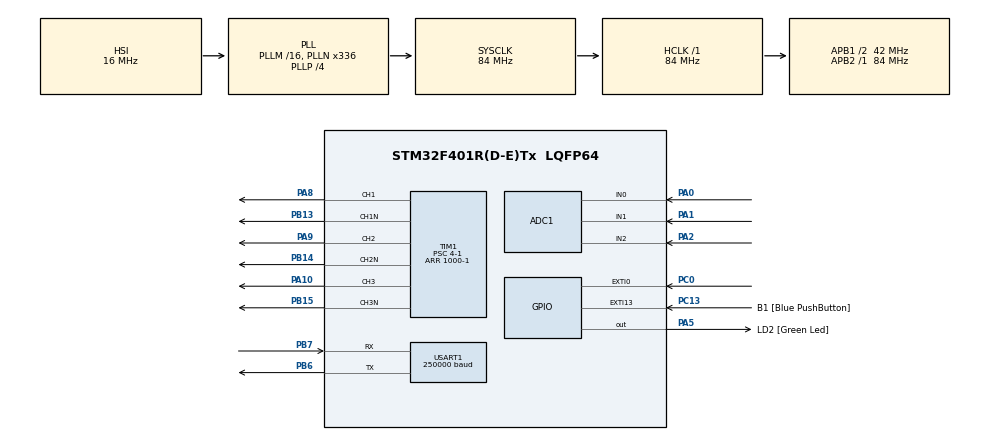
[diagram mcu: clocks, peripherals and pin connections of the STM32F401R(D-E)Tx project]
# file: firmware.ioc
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ADC1.Channel-0\#ChannelRegularConversion=ADC_CHANNEL_0
ADC1.Channel-1\#ChannelRegularConversion=ADC_CHANNEL_1
ADC1.Channel-2\#ChannelRegularConversion=ADC_CHANNEL_2
ADC1.ContinuousConvMode=DISABLE
ADC1.DMAContinuousRequests=DISABLE
ADC1.EOCSelection=ADC_EOC_SEQ_CONV
ADC1.ExternalTrigConv=ADC_SOFTWARE_START
ADC1.NbrOfConversion=3
ADC1.NbrOfConversionFlag=1
ADC1.Rank-0\#ChannelRegularConversion=1
ADC1.Rank-1\#ChannelRegularConversion=2
ADC1.Rank-2\#ChannelRegularConversion=3
ADC1.SamplingTime-0\#ChannelRegularConversion=ADC_SAMPLETIME_28CYCLES
ADC1.SamplingTime-1\#ChannelRegularConversion=ADC_SAMPLETIME_28CYCLES
ADC1.SamplingTime-2\#ChannelRegularConversion=ADC_SAMPLETIME_28CYCLES
ADC1.ScanConvMode=ENABLE
ADC1.master=1
Dma.ADC1.0.Direction=DMA_PERIPH_TO_MEMORY
Dma.ADC1.0.FIFOMode=DMA_FIFOMODE_DISABLE
Dma.ADC1.0.Instance=DMA2_Stream0
Dma.ADC1.0.MemDataAlignment=DMA_MDATAALIGN_HALFWORD
Dma.ADC1.0.MemInc=DMA_MINC_ENABLE
Dma.ADC1.0.Mode=DMA_NORMAL
Dma.ADC1.0.PeriphDataAlignment=DMA_PDATAALIGN_HALFWORD
Dma.ADC1.0.PeriphInc=DMA_PINC_DISABLE
Dma.ADC1.0.Priority=DMA_PRIORITY_LOW
Dma.Request0=ADC1
Dma.Request1=USART1_TX
Dma.USART1_TX.1.Direction=DMA_MEMORY_TO_PERIPH
Dma.USART1_TX.1.FIFOMode=DMA_FIFOMODE_DISABLE
Dma.USART1_TX.1.Instance=DMA2_Stream7
Dma.USART1_TX.1.MemDataAlignment=DMA_MDATAALIGN_BYTE
Dma.USART1_TX.1.MemInc=DMA_MINC_ENABLE
Dma.USART1_TX.1.Mode=DMA_CIRCULAR
Dma.USART1_TX.1.PeriphDataAlignment=DMA_PDATAALIGN_BYTE
Dma.USART1_TX.1.PeriphInc=DMA_PINC_DISABLE
Dma.USART1_TX.1.Priority=DMA_PRIORITY_LOW
Mcu.Family=STM32F4
Mcu.Name=STM32F401R(D-E)Tx
Mcu.Package=LQFP64
NVIC.ADC_IRQn=true\:0\:0\:false\:false\:true\:true\:true\:true
NVIC.DMA2_Stream0_IRQn=true\:0\:0\:false\:false\:true\:false\:true\:true
NVIC.DMA2_Stream7_IRQn=true\:0\:0\:false\:false\:true\:false\:true\:true
NVIC.EXTI0_IRQn=true\:0\:0\:false\:false\:true\:true\:true\:true
NVIC.EXTI15_10_IRQn=true\:0\:0\:false\:false\:true\:true\:true\:true
NVIC.PVD_IRQn=true\:0\:0\:false\:false\:true\:true\:true\:true
NVIC.PriorityGroup=NVIC_PRIORITYGROUP_0
NVIC.TIM1_UP_TIM10_IRQn=true\:0\:0\:false\:false\:true\:true\:true\:true
NVIC.TIM2_IRQn=true\:0\:0\:false\:false\:true\:true\:true\:true
NVIC.USART1_IRQn=true\:0\:0\:false\:false\:true\:true\:true\:true
PA0-WKUP.GPIO_Mode=GPIO_MODE_ANALOG
PA0-WKUP.Signal=ADCx_IN0
PA1.GPIO_Mode=GPIO_MODE_ANALOG
PA1.Signal=ADCx_IN1
PA10.GPIO_ModeDefaultPP=GPIO_MODE_AF_PP
PA10.GPIO_PuPd=GPIO_NOPULL
PA10.GPIO_Speed=GPIO_SPEED_FREQ_VERY_HIGH
PA10.Signal=S_TIM1_CH3
PA13.GPIO_Label=TMS
PA13.Mode=Serial_Wire
PA13.Signal=SYS_JTMS-SWDIO
PA14.GPIO_Label=TCK
PA14.Mode=Serial_Wire
PA14.Signal=SYS_JTCK-SWCLK
PA2.GPIO_Mode=GPIO_MODE_ANALOG
PA2.Signal=ADCx_IN2
PA4.Signal=ADCx_IN4
PA5.GPIO_Label=LD2 [Green Led]
PA5.GPIO_Mode=GPIO_MODE_OUTPUT_PP
PA5.GPIO_PuPd=GPIO_NOPULL
PA5.GPIO_Speed=GPIO_SPEED_FREQ_LOW
PA5.Signal=GPIO_Output
PA8.GPIO_ModeDefaultPP=GPIO_MODE_AF_PP
PA8.GPIO_PuPd=GPIO_NOPULL
PA8.GPIO_Speed=GPIO_SPEED_FREQ_VERY_HIGH
PA8.Signal=S_TIM1_CH1
PA9.GPIO_ModeDefaultPP=GPIO_MODE_AF_PP
PA9.GPIO_PuPd=GPIO_NOPULL
PA9.GPIO_Speed=GPIO_SPEED_FREQ_VERY_HIGH
PA9.Signal=S_TIM1_CH2
PB0.Signal=ADCx_IN8
PB13.GPIO_ModeDefaultPP=GPIO_MODE_AF_PP
PB13.GPIO_PuPd=GPIO_NOPULL
PB13.GPIO_Speed=GPIO_SPEED_FREQ_VERY_HIGH
PB13.Mode=PWM Generation1 CH1 CH1N
PB13.Signal=TIM1_CH1N
PB14.GPIO_ModeDefaultPP=GPIO_MODE_AF_PP
PB14.GPIO_PuPd=GPIO_NOPULL
PB14.GPIO_Speed=GPIO_SPEED_FREQ_VERY_HIGH
PB14.Mode=PWM Generation2 CH2 CH2N
PB14.Signal=TIM1_CH2N
PB15.GPIO_ModeDefaultPP=GPIO_MODE_AF_PP
PB15.GPIO_PuPd=GPIO_NOPULL
PB15.GPIO_Speed=GPIO_SPEED_FREQ_VERY_HIGH
PB15.Mode=PWM Generation3 CH3 CH3N
PB15.Signal=TIM1_CH3N
PB3.GPIO_Label=SWO
PB3.Signal=SYS_JTDO-SWO
PB6.GPIO_ModeDefaultPP=GPIO_MODE_AF_OD
PB6.GPIO_PuPd=GPIO_PULLUP
PB6.Mode=Asynchronous
PB6.Signal=USART1_TX
PB7.GPIO_ModeDefaultPP=GPIO_MODE_AF_OD
PB7.GPIO_PuPd=GPIO_PULLUP
PB7.Mode=Asynchronous
PB7.Signal=USART1_RX
PC0.GPIO_ModeDefaultEXTI=GPIO_MODE_IT_RISING
PC0.Signal=GPXTI0
PC1.Signal=ADCx_IN11
PC13-ANTI_TAMP.GPIO_Label=B1 [Blue PushButton]
PC13-ANTI_TAMP.GPIO_ModeDefaultEXTI=GPIO_MODE_IT_FALLING
PC13-ANTI_TAMP.GPIO_PuPd=GPIO_NOPULL
PC13-ANTI_TAMP.Signal=GPXTI13
PC14-OSC32_IN.Mode=LSE-External-Oscillator
PC14-OSC32_IN.Signal=RCC_OSC32_IN
PC15-OSC32_OUT.Mode=LSE-External-Oscillator
PC15-OSC32_OUT.Signal=RCC_OSC32_OUT
PH0\ -\ OSC_IN.Mode=HSE-External-Clock-Source
PH0\ -\ OSC_IN.Signal=RCC_OSC_IN
PH1\ -\ OSC_OUT.Mode=HSE-External-Clock-Source
PH1\ -\ OSC_OUT.Signal=RCC_OSC_OUT
ProjectManager.HeapSize=0x200
ProjectManager.StackSize=0x400
ProjectManager.TargetToolchain=STM32CubeIDE
RCC.48MHZClocksFreq_Value=48000000
RCC.AHBFreq_Value=84000000
RCC.APB1CLKDivider=RCC_HCLK_DIV2
RCC.APB1Freq_Value=42000000
RCC.APB1TimFreq_Value=84000000
RCC.APB2Freq_Value=84000000
RCC.APB2TimFreq_Value=84000000
RCC.CortexFreq_Value=84000000
RCC.HCLKFreq_Value=84000000
RCC.HSE_VALUE=8000000
RCC.HSI_VALUE=16000000
RCC.PLLN=336
RCC.PLLP=RCC_PLLP_DIV4
RCC.PLLQ=7
RCC.SYSCLKFreq_VALUE=84000000
RCC.SYSCLKSource=RCC_SYSCLKSOURCE_PLLCLK
RCC.VCOOutputFreq_Value=336000000
SH.ADCx_IN0.0=ADC1_IN0,IN0
SH.ADCx_IN1.0=ADC1_IN1,IN1
SH.ADCx_IN11.0=ADC1_IN11
SH.ADCx_IN2.0=ADC1_IN2,IN2
SH.ADCx_IN4.0=ADC1_IN4
SH.ADCx_IN8.0=ADC1_IN8
SH.S_TIM1_CH1.0=TIM1_CH1,PWM Generation1 CH1 CH1N
SH.S_TIM1_CH2.0=TIM1_CH2,PWM Generation2 CH2 CH2N
SH.S_TIM1_CH3.0=TIM1_CH3,PWM Generation3 CH3 CH3N
TIM1.AutoReloadPreload=TIM_AUTORELOAD_PRELOAD_DISABLE
TIM1.Channel-PWM\ Generation1\ CH1\ CH1N=TIM_CHANNEL_1
TIM1.Channel-PWM\ Generation2\ CH2\ CH2N=TIM_CHANNEL_2
TIM1.Channel-PWM\ Generation3\ CH3\ CH3N=TIM_CHANNEL_3
TIM1.DeadTime=20
TIM1.LockLevel=TIM_LOCKLEVEL_OFF
TIM1.OCFastMode_PWM-PWM\ Generation1\ CH1\ CH1N=TIM_OCFAST_ENABLE
TIM1.OCFastMode_PWM-PWM\ Generation2\ CH2\ CH2N=TIM_OCFAST_ENABLE
TIM1.OCNPolarity_1=TIM_OCNPOLARITY_HIGH
TIM1.OCNPolarity_2=TIM_OCNPOLARITY_HIGH
TIM1.OCPolarity_1=TIM_OCPOLARITY_LOW
TIM1.OCPolarity_2=TIM_OCPOLARITY_LOW
TIM1.OCPolarity_3=TIM_OCPOLARITY_LOW
TIM1.Period=1000-1
TIM1.Prescaler=4-1
TIM1.TIM_MasterOutputTrigger=TIM_TRGO_RESET
TIM2.Channel-PWM\ Generation1\ No\ Output=TIM_CHANNEL_1
TIM2.Period=1000-1
TIM2.Prescaler=84-1
TIM5.Channel-PWM\ Generation1\ No\ Output=TIM_CHANNEL_1
USART1.BaudRate=250000
USART1.VirtualMode=VM_ASYNC
VP_TIM2_VS_no_output1.Mode=PWM Generation1 No Output
VP_TIM5_VS_no_output1.Mode=PWM Generation1 No Output
board=NUCLEO-F401RE

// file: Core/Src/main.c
/* USER CODE BEGIN Header */
/**
 ******************************************************************************
 * @file           : main.c
 * @brief          : Main program body
 ******************************************************************************
 * @attention
 *
 * Copyright (c) 2024 STMicroelectronics.
 * All rights reserved.
 *
 * This software is licensed under terms that can be found in the LICENSE file
 * in the root directory of this software component.
 * If no LICENSE file comes with this software, it is provided AS-IS.
 *
 ******************************************************************************
 */
/* USER CODE END Header */
#include "main.h"

/* USER CODE BEGIN Includes */
#include <math.h>
#include <stdio.h>
#include <string.h>

/* USER CODE END Includes */

/* USER CODE BEGIN PD */
#define PI 3.141593f

#define Vdd 3.3f
#define PWM_RANGE 1000.0f

#define Ra 0.09f
#define La 0.12e-3f
#define Kt 2.2866e-3f
#define J 0.000001f

#define V_d 0.0f
#define V_q 0.0f

#define I_d 0.0f
#define I_q 0.5f

#define SPEED 0.0f

#define FIR_LENGTH 50

#define Wi 1000.0f
#define KIp (Wi * La)           // La
#define KIi (Wi * Ra / 1000.0f) // Ra

#define Ws 100.0f
#define KSp (2.0f * J * Ws / Kt) // 2*J/Kt
#define KSi (J * Ws * Ws / Kt)   // J/Kt
/* USER CODE END PD */

ADC_HandleTypeDef hadc1;
DMA_HandleTypeDef hdma_adc1;

TIM_HandleTypeDef htim1;
TIM_HandleTypeDef htim2;
TIM_HandleTypeDef htim5;

UART_HandleTypeDef huart1;
DMA_HandleTypeDef hdma_usart1_tx;

/* USER CODE BEGIN PV */
uint8_t buff[100];

uint16_t adc_dma[3];

float TIM_before;
float TIM_now;
float theta_e;
float theta_estimated;
float vd, vq;
float id, iq;
float id_raw, iq_raw;
float U, V, W;
float iu, iv, iw;
float speed;

float id_iir, iq_iir;
float id_fir[FIR_LENGTH], iq_fir[FIR_LENGTH];
int id_fir_index, iq_fir_index;

float id_integ, iq_integ;
float speed_integ;
int time;

/* USER CODE END PV */

void SystemClock_Config(void);
static void MX_GPIO_Init(void);
static void MX_DMA_Init(void);
static void MX_TIM1_Init(void);
static void MX_ADC1_Init(void);
static void MX_TIM2_Init(void);
static void MX_USART1_UART_Init(void);
static void MX_TIM5_Init(void);

/* USER CODE BEGIN 0 */

// 指令値電圧をPWM�?��?��??�?�値�?�変�?�
int convert_PWM(float voltage)
{
  int pwm = PWM_RANGE / 2.0f + PWM_RANGE / 2.0f * voltage * 2.0f / Vdd;
  if (pwm < 0)
  {
    pwm = 0;
  }
  else if (pwm > PWM_RANGE)
  {
    pwm = PWM_RANGE - 1;
  }
  return pwm;
}

// ADC�?�入力を電�?�?�変�?�
float convert_current(int adc)
{
  return ((float)adc * 3.3f / 4096.0f - 1.66f) / 0.092f;
}

// 逆パーク変�?�
void dq_to_ab(float d, float q, float theta, float *a, float *b)
{
  *a = d * cosf(theta) - q * sinf(theta);
  *b = d * sinf(theta) + q * cosf(theta);
}

// uvw→dq変�?�
void uvw_to_dq(float u, float v, float w, float theta, float *d, float *q)
{
  // クラーク変�?�
  float alpha = u;
  float beta = (u + 2.0f * v) / sqrtf(3.0f);

  // パーク変�?�
  *d = (alpha * cosf(theta) + beta * sinf(theta)) / sqrtf(3.0f / 2.0f);
  *q = (-alpha * sinf(theta) + beta * cosf(theta)) / sqrtf(3.0f / 2.0f);
}

// 空間ベクトル変調
void ab_to_svm(float a, float b, float *u, float *v, float *w)
{
  float v1, v2, v3;
  int VecSector;

  // �?��?分�?�計算
  v1 = b;
  v2 = 0.5f * b + sqrtf(3) / 2.0f * a;
  v3 = v2 - v1;

  // セクター�?�特定
  VecSector = 3;
  VecSector = (v2 >= 0) ? (VecSector - 1) : VecSector;
  VecSector = (v3 > 0) ? (VecSector - 1) : VecSector;
  VecSector = (v1 < 0) ? (7 - VecSector) : VecSector;

  // セクター別�?�処�?�
  switch (VecSector)
  {
  case 1:
  case 4:
    *u = v2;
    *v = v1 - v3;
    *w = -v2;
    break;

  case 2:
  case 5:
    *u = v2 + v3;
    *v = v1;
    *w = -v1;
    break;

  case 3:
  case 6:
    *u = v3;
    *v = -v3;
    *w = -v1 - v2;

  default:
    break;
  }
}

// dq→uvw変�?�
void dq_to_uvw(float d, float q, float theta, float *u, float *v, float *w)
{
  // 逆パーク変�?�
  float alpha = d * cosf(theta) - q * sinf(theta);
  float beta = d * sinf(theta) + q * cosf(theta);

  ab_to_svm(alpha, beta, u, v, w);
}

// 極零相殺
void pole_zero_cancel(float *vd, float *vq, float id, float iq)
{
  *vd -= speed * iq * La;
  *vq += speed * (id * La + Kt / 7.0f);
}

// PI制御器
float PI_Controller(float error, float *integral, float Kp, float Ki, float Limit)
{
  // 出力�?�計算
  float output = Kp * error + Ki * (*integral + error);

  // アン�?ワインドアップ
  if (output > Limit)
    output = Limit;
  else if (output < -Limit)
    output = -Limit;
  else
    *integral += error;

  return output;
}

// タイマ割り込�?��?�コール�?ック関数
void HAL_TIM_PeriodElapsedCallback(TIM_HandleTypeDef *htim)
{
  if (htim == &htim1) // PWM割り込�?� 21 kHz
  {
    // 電気角�?置�?�計算
    theta_e = TIM5->CNT / (float)TIM_before * 2.0f * PI + 1.25f;
    if (theta_e < 0.0f)
    {
      theta_e += 2.0f * PI;
    }
    else if (theta_e > 2.0f * PI)
    {
      theta_e -= 2.0f * PI;
    }

    // ADC�?�ら電�?�?�得
    iu = convert_current(adc_dma[0]);
    iv = convert_current(adc_dma[1]);
    iw = convert_current(adc_dma[2]);

    // dq軸電�?�?�計算
    uvw_to_dq(iu, iv, iw, theta_e, &id_raw, &iq_raw);

    // 出力電圧�?�変更
    __HAL_TIM_SET_COMPARE(&htim1, TIM_CHANNEL_1, convert_PWM(U));
    __HAL_TIM_SET_COMPARE(&htim1, TIM_CHANNEL_2, convert_PWM(V));
    __HAL_TIM_SET_COMPARE(&htim1, TIM_CHANNEL_3, convert_PWM(W));

    // 次�?�ADCスタート
    HAL_ADC_Start_DMA(&hadc1, (uint32_t *)adc_dma, 3);
  }
  else if (htim == &htim2) // 制御部 1 kHz
  {
    // 計算�?��?�dq軸電�?を�?�得
    id = id_raw;
    iq = iq_raw;

    // PI制御器�?�よるq軸電�?指令値�?�決定
    float iq_ref = PI_Controller(SPEED - speed, &speed_integ, KSp, KSi, 0.5f);

    // PI制御器�?�よるdq軸電圧指令値�?�決定
    vd = PI_Controller(I_d - id, &id_integ, KIp, KIi, 2.0f);
    vq = PI_Controller(I_q - iq, &iq_integ, KIp, KIi, 2.0f);

    // �?�干渉制御
    pole_zero_cancel(&vd, &vq, id, iq);

    // イン�?ータ�?�出力�?�る電圧指令値�?�計算
    dq_to_uvw(vd, vq, theta_e, &U, &V, &W);

    // 速度�?�計算
    speed = 1.0f / (TIM_before / 84e6f) * 2.0f * PI / 7.0f;

    time++; // ms
  }
}

// 外部割り込�?�(EXTI)�?�コール�?ック関数
void HAL_GPIO_EXTI_Callback(uint16_t GPIO_Pin)
{
  // �?回�?�割り込�?��?�ら�?�時間を�?�得
  TIM_before = TIM5->CNT;
  // タイマー�?�カウントをリセット
  TIM5->CNT = 0;
}

int _write(int file, char *ptr, int len)
{
  HAL_UART_Transmit(&huart1, (uint8_t *)ptr, len, 10);
  return len;
}
/* USER CODE END 0 */

int main(void)
{

  /* MCU Configuration--------------------------------------------------------*/

  /* Reset of all peripherals, Initializes the Flash interface and the Systick. */
  HAL_Init();

  /* Configure the system clock */
  SystemClock_Config();

  /* Initialize all configured peripherals */
  MX_GPIO_Init();
  MX_DMA_Init();
  MX_TIM1_Init();
  MX_ADC1_Init();
  MX_TIM2_Init();
  MX_USART1_UART_Init();
  MX_TIM5_Init();
  /* USER CODE BEGIN 2 */
  setbuf(stdout, NULL);

  HAL_TIM_Base_Start_IT(&htim1);
  HAL_TIM_Base_Start_IT(&htim5);

  HAL_TIM_PWM_Start(&htim1, TIM_CHANNEL_1);
  HAL_TIMEx_PWMN_Start(&htim1, TIM_CHANNEL_1);
  HAL_TIM_PWM_Start(&htim1, TIM_CHANNEL_2);
  HAL_TIMEx_PWMN_Start(&htim1, TIM_CHANNEL_2);
  HAL_TIM_PWM_Start(&htim1, TIM_CHANNEL_3);
  HAL_TIMEx_PWMN_Start(&htim1, TIM_CHANNEL_3);

  HAL_ADC_Start_DMA(&hadc1, (uint32_t *)adc_dma, 5);

  HAL_GPIO_WritePin(GPIOA, GPIO_PIN_5, GPIO_PIN_RESET);

  // printf("%d\n", HAL_RCC_GetSysClockFreq());
  printf("Time[ms]\tV_d[V]\tV_q[V]\tI_d[A]\tI_q[A]\tSpeed[rad/s]\n");
  /* USER CODE END 2 */

  /* Infinite loop */
  /* USER CODE BEGIN WHILE */

  // �?期�?置決定�?��?��?�?�2周�?��?�る
  dq_to_uvw(0.0f, 2.0f, 0.0f, &U, &V, &W);
  HAL_Delay(50);
  dq_to_uvw(0.0f, 2.0f, 2.0f / 3.0f * PI, &U, &V, &W);
  HAL_Delay(50);
  dq_to_uvw(0.0f, 2.0f, 4.0f / 3.0f * PI, &U, &V, &W);
  HAL_Delay(50);
  dq_to_uvw(0.0f, 2.0f, 0.0f, &U, &V, &W);
  HAL_Delay(50);
  dq_to_uvw(0.0f, 2.0f, 2.0f / 3.0f * PI, &U, &V, &W);
  HAL_Delay(50);
  dq_to_uvw(0.0f, 2.0f, 4.0f / 3.0f * PI, &U, &V, &W);
  HAL_Delay(50);
  dq_to_uvw(0.0f, 2.0f, 0.0f, &U, &V, &W);
  HAL_Delay(50);

  // 制御部スタート
  HAL_TIM_Base_Start_IT(&htim2);

  while (1)
  {
    int times[2000];
    float data[5][2000];
    for (int i = 0; i < 2000; i++)
    {
      /* code */

      times[i] = time;
      data[0][i] = vd;
      data[1][i] = vq;
      data[2][i] = id_raw;
      data[3][i] = iq_raw;
      data[4][i] = speed;
      HAL_Delay(1);
    }

    // float speed = 1.0f / (TIM_before / 84E6f) * 2.0f * PI / 7.0f;
    // printf("%d\t%f\t%f\t%f\n", time, id, iq, speed);
    //  printf("% f, % f, %d, %d, %d, %d, %d\n", id, iq, adc_dma[0], adc_dma[1], adc_dma[2], adc_dma[3], adc_dma[4]);
    //  HAL_Delay(10);
    for (int i = 0; i < 2000; i++)
    {
      /* code */
      printf("%d\t%f\t%f\t%f\t%f\t%f\n", times[i], data[0][i], data[1][i], data[2][i], data[3][i], data[4][i]);
    }
    while (1)
    {
      /* code */
    }

    /* USER CODE END WHILE */

  }
}

void SystemClock_Config(void)
{
  RCC_OscInitTypeDef RCC_OscInitStruct = {0};
  RCC_ClkInitTypeDef RCC_ClkInitStruct = {0};

  /** Configure the main internal regulator output voltage
   */
  __HAL_RCC_PWR_CLK_ENABLE();
  __HAL_PWR_VOLTAGESCALING_CONFIG(PWR_REGULATOR_VOLTAGE_SCALE2);

  /** Initializes the RCC Oscillators according to the specified parameters
   * in the RCC_OscInitTypeDef structure.
   */
  RCC_OscInitStruct.OscillatorType = RCC_OSCILLATORTYPE_HSI;
  RCC_OscInitStruct.HSIState = RCC_HSI_ON;
  RCC_OscInitStruct.HSICalibrationValue = RCC_HSICALIBRATION_DEFAULT;
  RCC_OscInitStruct.PLL.PLLState = RCC_PLL_ON;
  RCC_OscInitStruct.PLL.PLLSource = RCC_PLLSOURCE_HSI;
  RCC_OscInitStruct.PLL.PLLM = 16;
  RCC_OscInitStruct.PLL.PLLN = 336;
  RCC_OscInitStruct.PLL.PLLP = RCC_PLLP_DIV4;
  RCC_OscInitStruct.PLL.PLLQ = 7;
  if (HAL_RCC_OscConfig(&RCC_OscInitStruct) != HAL_OK)
  {
    Error_Handler();
  }

  /** Initializes the CPU, AHB and APB buses clocks
   */
  RCC_ClkInitStruct.ClockType = RCC_CLOCKTYPE_HCLK | RCC_CLOCKTYPE_SYSCLK | RCC_CLOCKTYPE_PCLK1 | RCC_CLOCKTYPE_PCLK2;
  RCC_ClkInitStruct.SYSCLKSource = RCC_SYSCLKSOURCE_PLLCLK;
  RCC_ClkInitStruct.AHBCLKDivider = RCC_SYSCLK_DIV1;
  RCC_ClkInitStruct.APB1CLKDivider = RCC_HCLK_DIV2;
  RCC_ClkInitStruct.APB2CLKDivider = RCC_HCLK_DIV1;

  if (HAL_RCC_ClockConfig(&RCC_ClkInitStruct, FLASH_LATENCY_2) != HAL_OK)
  {
    Error_Handler();
  }
}

static void MX_ADC1_Init(void)
{

  ADC_ChannelConfTypeDef sConfig = {0};

  /** Configure the global features of the ADC (Clock, Resolution, Data Alignment and number of conversion)
   */
  hadc1.Instance = ADC1;
  hadc1.Init.ClockPrescaler = ADC_CLOCK_SYNC_PCLK_DIV4;
  hadc1.Init.Resolution = ADC_RESOLUTION_12B;
  hadc1.Init.ScanConvMode = ENABLE;
  hadc1.Init.ContinuousConvMode = DISABLE;
  hadc1.Init.DiscontinuousConvMode = DISABLE;
  hadc1.Init.ExternalTrigConvEdge = ADC_EXTERNALTRIGCONVEDGE_NONE;
  hadc1.Init.ExternalTrigConv = ADC_SOFTWARE_START;
  hadc1.Init.DataAlign = ADC_DATAALIGN_RIGHT;
  hadc1.Init.NbrOfConversion = 3;
  hadc1.Init.DMAContinuousRequests = DISABLE;
  hadc1.Init.EOCSelection = ADC_EOC_SEQ_CONV;
  if (HAL_ADC_Init(&hadc1) != HAL_OK)
  {
    Error_Handler();
  }

  /** Configure for the selected ADC regular channel its corresponding rank in the sequencer and its sample time.
   */
  sConfig.Channel = ADC_CHANNEL_0;
  sConfig.Rank = 1;
  sConfig.SamplingTime = ADC_SAMPLETIME_28CYCLES;
  if (HAL_ADC_ConfigChannel(&hadc1, &sConfig) != HAL_OK)
  {
    Error_Handler();
  }

  /** Configure for the selected ADC regular channel its corresponding rank in the sequencer and its sample time.
   */
  sConfig.Channel = ADC_CHANNEL_1;
  sConfig.Rank = 2;
  if (HAL_ADC_ConfigChannel(&hadc1, &sConfig) != HAL_OK)
  {
    Error_Handler();
  }

  /** Configure for the selected ADC regular channel its corresponding rank in the sequencer and its sample time.
   */
  sConfig.Channel = ADC_CHANNEL_2;
  sConfig.Rank = 3;
  if (HAL_ADC_ConfigChannel(&hadc1, &sConfig) != HAL_OK)
  {
    Error_Handler();
  }
}

static void MX_TIM1_Init(void)
{

  TIM_MasterConfigTypeDef sMasterConfig = {0};
  TIM_OC_InitTypeDef sConfigOC = {0};
  TIM_BreakDeadTimeConfigTypeDef sBreakDeadTimeConfig = {0};

  htim1.Instance = TIM1;
  htim1.Init.Prescaler = 4 - 1;
  htim1.Init.CounterMode = TIM_COUNTERMODE_UP;
  htim1.Init.Period = 1000 - 1;
  htim1.Init.ClockDivision = TIM_CLOCKDIVISION_DIV1;
  htim1.Init.RepetitionCounter = 0;
  htim1.Init.AutoReloadPreload = TIM_AUTORELOAD_PRELOAD_DISABLE;
  if (HAL_TIM_PWM_Init(&htim1) != HAL_OK)
  {
    Error_Handler();
  }
  sMasterConfig.MasterOutputTrigger = TIM_TRGO_RESET;
  sMasterConfig.MasterSlaveMode = TIM_MASTERSLAVEMODE_DISABLE;
  if (HAL_TIMEx_MasterConfigSynchronization(&htim1, &sMasterConfig) != HAL_OK)
  {
    Error_Handler();
  }
  sConfigOC.OCMode = TIM_OCMODE_PWM1;
  sConfigOC.Pulse = 0;
  sConfigOC.OCPolarity = TIM_OCPOLARITY_LOW;
  sConfigOC.OCNPolarity = TIM_OCNPOLARITY_HIGH;
  sConfigOC.OCFastMode = TIM_OCFAST_ENABLE;
  sConfigOC.OCIdleState = TIM_OCIDLESTATE_RESET;
  sConfigOC.OCNIdleState = TIM_OCNIDLESTATE_RESET;
  if (HAL_TIM_PWM_ConfigChannel(&htim1, &sConfigOC, TIM_CHANNEL_1) != HAL_OK)
  {
    Error_Handler();
  }
  if (HAL_TIM_PWM_ConfigChannel(&htim1, &sConfigOC, TIM_CHANNEL_2) != HAL_OK)
  {
    Error_Handler();
  }
  sConfigOC.OCFastMode = TIM_OCFAST_DISABLE;
  if (HAL_TIM_PWM_ConfigChannel(&htim1, &sConfigOC, TIM_CHANNEL_3) != HAL_OK)
  {
    Error_Handler();
  }
  sBreakDeadTimeConfig.OffStateRunMode = TIM_OSSR_DISABLE;
  sBreakDeadTimeConfig.OffStateIDLEMode = TIM_OSSI_DISABLE;
  sBreakDeadTimeConfig.LockLevel = TIM_LOCKLEVEL_OFF;
  sBreakDeadTimeConfig.DeadTime = 20;
  sBreakDeadTimeConfig.BreakState = TIM_BREAK_DISABLE;
  sBreakDeadTimeConfig.BreakPolarity = TIM_BREAKPOLARITY_HIGH;
  sBreakDeadTimeConfig.AutomaticOutput = TIM_AUTOMATICOUTPUT_DISABLE;
  if (HAL_TIMEx_ConfigBreakDeadTime(&htim1, &sBreakDeadTimeConfig) != HAL_OK)
  {
    Error_Handler();
  }
  HAL_TIM_MspPostInit(&htim1);
}

static void MX_TIM2_Init(void)
{

  TIM_MasterConfigTypeDef sMasterConfig = {0};
  TIM_OC_InitTypeDef sConfigOC = {0};

  htim2.Instance = TIM2;
  htim2.Init.Prescaler = 84 - 1;
  htim2.Init.CounterMode = TIM_COUNTERMODE_UP;
  htim2.Init.Period = 1000 - 1;
  htim2.Init.ClockDivision = TIM_CLOCKDIVISION_DIV1;
  htim2.Init.AutoReloadPreload = TIM_AUTORELOAD_PRELOAD_DISABLE;
  if (HAL_TIM_PWM_Init(&htim2) != HAL_OK)
  {
    Error_Handler();
  }
  sMasterConfig.MasterOutputTrigger = TIM_TRGO_RESET;
  sMasterConfig.MasterSlaveMode = TIM_MASTERSLAVEMODE_DISABLE;
  if (HAL_TIMEx_MasterConfigSynchronization(&htim2, &sMasterConfig) != HAL_OK)
  {
    Error_Handler();
  }
  sConfigOC.OCMode = TIM_OCMODE_PWM1;
  sConfigOC.Pulse = 0;
  sConfigOC.OCPolarity = TIM_OCPOLARITY_HIGH;
  sConfigOC.OCFastMode = TIM_OCFAST_DISABLE;
  if (HAL_TIM_PWM_ConfigChannel(&htim2, &sConfigOC, TIM_CHANNEL_1) != HAL_OK)
  {
    Error_Handler();
  }
}

static void MX_TIM5_Init(void)
{

  TIM_MasterConfigTypeDef sMasterConfig = {0};
  TIM_OC_InitTypeDef sConfigOC = {0};

  htim5.Instance = TIM5;
  htim5.Init.Prescaler = 0;
  htim5.Init.CounterMode = TIM_COUNTERMODE_UP;
  htim5.Init.Period = 4294967295;
  htim5.Init.ClockDivision = TIM_CLOCKDIVISION_DIV1;
  htim5.Init.AutoReloadPreload = TIM_AUTORELOAD_PRELOAD_DISABLE;
  if (HAL_TIM_PWM_Init(&htim5) != HAL_OK)
  {
    Error_Handler();
  }
  sMasterConfig.MasterOutputTrigger = TIM_TRGO_RESET;
  sMasterConfig.MasterSlaveMode = TIM_MASTERSLAVEMODE_DISABLE;
  if (HAL_TIMEx_MasterConfigSynchronization(&htim5, &sMasterConfig) != HAL_OK)
  {
    Error_Handler();
  }
  sConfigOC.OCMode = TIM_OCMODE_PWM1;
  sConfigOC.Pulse = 0;
  sConfigOC.OCPolarity = TIM_OCPOLARITY_HIGH;
  sConfigOC.OCFastMode = TIM_OCFAST_DISABLE;
  if (HAL_TIM_PWM_ConfigChannel(&htim5, &sConfigOC, TIM_CHANNEL_1) != HAL_OK)
  {
    Error_Handler();
  }
}

static void MX_USART1_UART_Init(void)
{

  huart1.Instance = USART1;
  huart1.Init.BaudRate = 250000;
  huart1.Init.WordLength = UART_WORDLENGTH_8B;
  huart1.Init.StopBits = UART_STOPBITS_1;
  huart1.Init.Parity = UART_PARITY_NONE;
  huart1.Init.Mode = UART_MODE_TX_RX;
  huart1.Init.HwFlowCtl = UART_HWCONTROL_NONE;
  huart1.Init.OverSampling = UART_OVERSAMPLING_16;
  if (HAL_UART_Init(&huart1) != HAL_OK)
  {
    Error_Handler();
  }
}

static void MX_DMA_Init(void)
{

  /* DMA controller clock enable */
  __HAL_RCC_DMA2_CLK_ENABLE();

  /* DMA interrupt init */
  /* DMA2_Stream0_IRQn interrupt configuration */
  HAL_NVIC_SetPriority(DMA2_Stream0_IRQn, 0, 0);
  HAL_NVIC_EnableIRQ(DMA2_Stream0_IRQn);
  /* DMA2_Stream7_IRQn interrupt configuration */
  HAL_NVIC_SetPriority(DMA2_Stream7_IRQn, 0, 0);
  HAL_NVIC_EnableIRQ(DMA2_Stream7_IRQn);
}

static void MX_GPIO_Init(void)
{
  GPIO_InitTypeDef GPIO_InitStruct = {0};

  /* GPIO Ports Clock Enable */
  __HAL_RCC_GPIOC_CLK_ENABLE();
  __HAL_RCC_GPIOH_CLK_ENABLE();
  __HAL_RCC_GPIOA_CLK_ENABLE();
  __HAL_RCC_GPIOB_CLK_ENABLE();

  /*Configure GPIO pin Output Level */
  HAL_GPIO_WritePin(LD2_GPIO_Port, LD2_Pin, GPIO_PIN_RESET);

  /*Configure GPIO pin : B1_Pin */
  GPIO_InitStruct.Pin = B1_Pin;
  GPIO_InitStruct.Mode = GPIO_MODE_IT_FALLING;
  GPIO_InitStruct.Pull = GPIO_NOPULL;
  HAL_GPIO_Init(B1_GPIO_Port, &GPIO_InitStruct);

  /*Configure GPIO pin : PC0 */
  GPIO_InitStruct.Pin = GPIO_PIN_0;
  GPIO_InitStruct.Mode = GPIO_MODE_IT_RISING;
  GPIO_InitStruct.Pull = GPIO_NOPULL;
  HAL_GPIO_Init(GPIOC, &GPIO_InitStruct);

  /*Configure GPIO pin : LD2_Pin */
  GPIO_InitStruct.Pin = LD2_Pin;
  GPIO_InitStruct.Mode = GPIO_MODE_OUTPUT_PP;
  GPIO_InitStruct.Pull = GPIO_NOPULL;
  GPIO_InitStruct.Speed = GPIO_SPEED_FREQ_LOW;
  HAL_GPIO_Init(LD2_GPIO_Port, &GPIO_InitStruct);

  /* EXTI interrupt init*/
  HAL_NVIC_SetPriority(EXTI0_IRQn, 0, 0);
  HAL_NVIC_EnableIRQ(EXTI0_IRQn);

  HAL_NVIC_SetPriority(EXTI15_10_IRQn, 0, 0);
  HAL_NVIC_EnableIRQ(EXTI15_10_IRQn);

}

void Error_Handler(void)
{
  __disable_irq();
  while (1)
  {
  }
}
